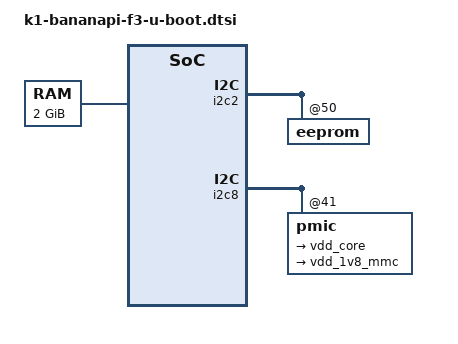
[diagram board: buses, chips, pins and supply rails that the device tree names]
// SPDX-License-Identifier: GPL-2.0+ OR MIT
/*
 * U-Boot specifics for the Banana Pi BPI-F3 (Spacemit K1).
 *
 * Auto-included by the build on top of
 * dts/upstream/src/riscv/spacemit/k1-bananapi-f3.dts.
 */

#include <dt-bindings/clock/spacemit,k1-syscon.h>
#include "binman.dtsi"

/ {
	/*
	 * The kernel BPI-F3 dts intentionally has no memory@0 — kernels
	 * obtain RAM extents from the bootloader. U-Boot needs the memory
	 * node early, so carry it here.
	 */
	memory@0 {
		device_type = "memory";
		reg = <0x00000000 0x00000000 0x00000000 0x80000000>;
	};
};

&uart0 {
	bootph-pre-ram;
};

&osc_32k {
	bootph-pre-ram;
};

&vctcxo_1m {
	bootph-pre-ram;
};

&vctcxo_3m {
	bootph-pre-ram;
};

&vctcxo_24m {
	bootph-pre-ram;
};

&syscon_mpmu {
	bootph-pre-ram;
};

&pll {
	bootph-pre-ram;
};

&syscon_apmu {
	bootph-pre-ram;
};

/*
 * U-Boot's clock driver resolves APBC parents through DT, while the kernel
 * derives pll1_d78_31p5 / pll1_d4 internally with clk_register_fixed_factor.
 * Extend the parent list here so the SPL/U-Boot APBC driver finds them.
 */
&syscon_apbc {
	clocks = <&osc_32k>, <&vctcxo_1m>, <&vctcxo_3m>, <&vctcxo_24m>,
		 <&syscon_mpmu CLK_PLL1_31P5>, <&pll CLK_PLL1_D4>;
	clock-names = "osc", "vctcxo_1m", "vctcxo_3m", "vctcxo_24m",
		      "pll1_d78_31p5", "pll1_d4";
	bootph-pre-ram;
};

&i2c2 {
	bootph-pre-ram;

	eeprom@50 {
		bootph-pre-ram;
	};
};

/*
 * The kernel pmic@41 nodes use the standard regulator-* properties only;
 * U-Boot's regulator framework looks up suppliers by `regulator-name`.
 * Carry the U-Boot-specific names (vdd_core / vdd_1v8 / vdd_1v8_mmc) here
 * so SPL can program the bucks that DDR training depends on.
 */
&i2c8 {
	bootph-pre-ram;

	pmic@41 {
		bootph-pre-ram;

		regulators {
			buck1 {
				regulator-name = "vdd_core";
				bootph-pre-ram;
			};

			aldo1 {
				regulator-name = "vdd_1v8_mmc";
				bootph-pre-ram;
			};
		};
	};
};

&buck3_1v8 {
	regulator-name = "vdd_1v8";
	bootph-pre-ram;
};

&binman {
	u-boot-spl-ddr {
		type = "section";
		filename = "u-boot-spl-ddr.bin";
		pad-byte = <0xff>;

		u-boot-spl {
		};

		ddr-fw {
			type = "blob";
			filename = "ddr_fw.bin";
			align = <64>;
		};

		u-boot-any {
			type = "section";
			size = <0>;
			offset = <0>;
		};
	};
};
